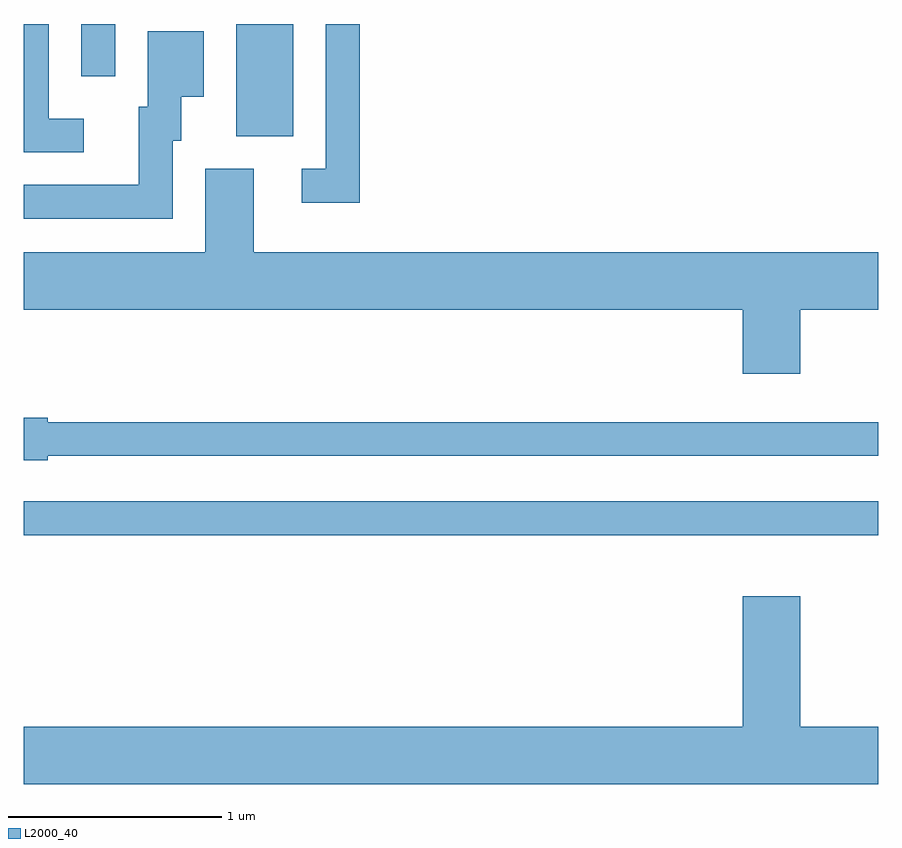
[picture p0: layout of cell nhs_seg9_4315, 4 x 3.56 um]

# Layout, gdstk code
import gdstk
lib = gdstk.Library(unit=1e-6, precision=1e-09)
def R(c, l, rs):  # rectangles x0, y0, x1, y1
    for r in rs: c.add(gdstk.rectangle(r[:2], r[2:], *l))
def P(c, l, *ps):  # polygons
    for p in ps: c.add(gdstk.Polygon(p, *l))
L2000_40 = (2000, 40)

nhs_seg9_4315 = lib.new_cell('nhs_seg9_4315')
R(nhs_seg9_4315, L2000_40, [(311.611,2044.041,315.611,2044.199), (312.606,2045.906,312.874,2046.432), (311.881,2046.188,312.039,2046.432)])
P(nhs_seg9_4315, L2000_40, [(313.184,2046.432),(313.026,2046.432),(313.026,2045.754),(312.913,2045.754),(312.913,2045.596),(313.184,2045.596)],
  [(311.893,2045.989),(311.729,2045.989),(311.729,2046.432),(311.611,2046.432),(311.611,2045.831),(311.893,2045.831)],
  [(312.309,2045.886),(312.349,2045.886),(312.349,2046.091),(312.454,2046.091),(312.454,2046.399),(312.191,2046.399),(312.191,2046.044),(312.151,2046.044),(312.151,2045.679),(311.611,2045.679),(311.611,2045.521),(312.309,2045.521)],
  [(315.244,2045.096),(315.611,2045.096),(315.611,2045.364),(312.689,2045.364),(312.689,2045.754),(312.461,2045.754),(312.461,2045.364),(311.611,2045.364),(311.611,2045.096),(314.976,2045.096),(314.976,2044.796),(315.244,2044.796)],
  [(311.724,2044.411),(315.611,2044.411),(315.611,2044.569),(311.724,2044.569),(311.724,2044.589),(311.611,2044.589),(311.611,2044.391),(311.724,2044.391)],
  [(315.611,2043.144),(315.244,2043.144),(315.244,2043.754),(314.976,2043.754),(314.976,2043.144),(311.611,2043.144),(311.611,2042.876),(315.611,2042.876)])

lib.write_gds('nhs_seg9_4315.gds')
